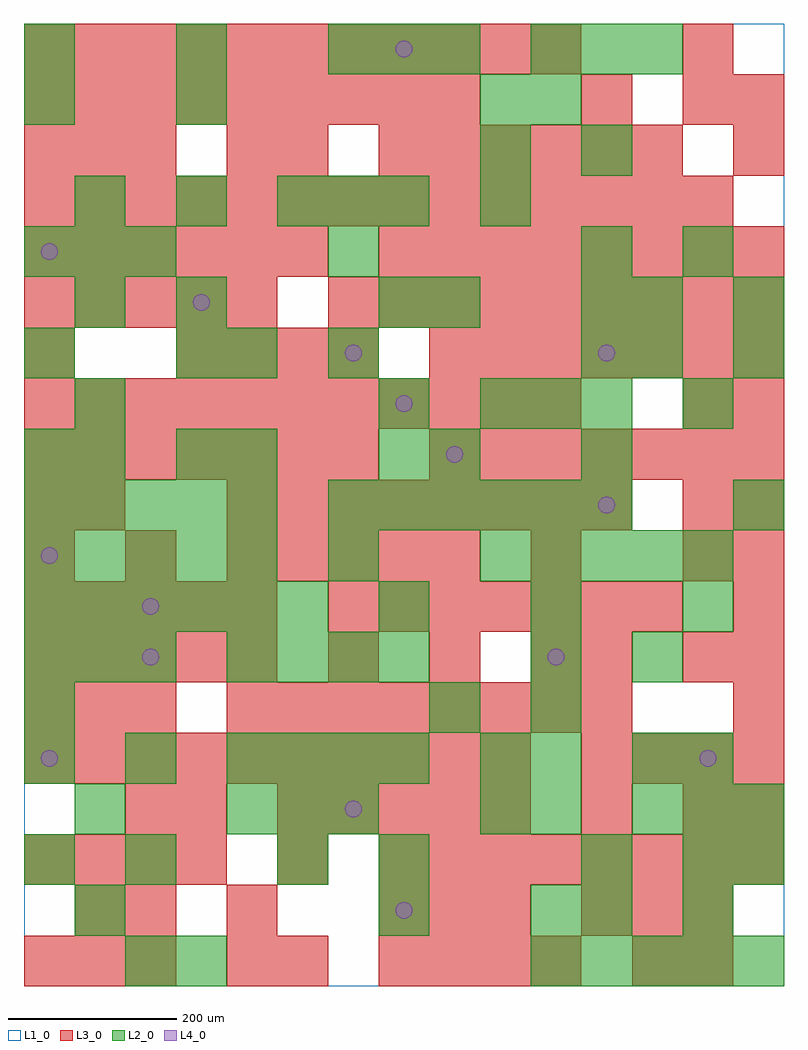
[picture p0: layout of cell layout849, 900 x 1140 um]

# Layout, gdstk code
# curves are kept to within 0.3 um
import gdstk
lib = gdstk.Library(unit=1e-6, precision=1e-09)
def R(c, l, rs):  # rectangles x0, y0, x1, y1
    for r in rs: c.add(gdstk.rectangle(r[:2], r[2:], *l))
def A(c, l, x, y, w, h, nx, ny, dx, dy):  # array of equal rectangles
    R(c, l, [(x+i*dx, y+j*dy, x+i*dx+w, y+j*dy+h) for i in range(nx) for j in range(ny)])
def P(c, l, *ps):  # polygons
    for p in ps: c.add(gdstk.Polygon(p, *l))
L1_0 = (1, 0)
L2_0 = (2, 0)
L3_0 = (3, 0)
L4_0 = (4, 0)

layout849 = lib.new_cell('layout849')
R(layout849, L1_0, [(0,0,900,1140)])
A(layout849, L2_0, 600, 0, 60, 60, 5, 1, 60, 0)
A(layout849, L2_0, 240, 180, 60, 60, 3, 1, 60, 0)
A(layout849, L2_0, 600, 180, 60, 60, 1, 4, 0, 60)
A(layout849, L2_0, 720, 180, 60, 60, 3, 1, 60, 0)
A(layout849, L2_0, 0, 240, 60, 60, 3, 1, 120, 0)
A(layout849, L2_0, 300, 240, 60, 60, 3, 1, 60, 0)
A(layout849, L2_0, 0, 360, 60, 60, 3, 2, 60, 480)
A(layout849, L2_0, 240, 360, 60, 60, 4, 1, 60, 0)
A(layout849, L2_0, 0, 420, 60, 60, 6, 1, 60, 0)
A(layout849, L2_0, 420, 420, 60, 60, 3, 1, 180, 0)
A(layout849, L2_0, 0, 480, 60, 60, 5, 2, 60, 60)
A(layout849, L2_0, 540, 480, 60, 60, 5, 1, 60, 0)
A(layout849, L2_0, 360, 540, 60, 60, 6, 1, 60, 0)
A(layout849, L2_0, 420, 660, 60, 60, 1, 3, 0, 120)
A(layout849, L2_0, 540, 660, 60, 60, 3, 1, 60, 0)
A(layout849, L2_0, 660, 720, 60, 60, 1, 3, 0, 60)
A(layout849, L2_0, 60, 900, 60, 60, 3, 1, 120, 0)
A(layout849, L2_0, 540, 900, 60, 60, 1, 3, 0, 60)
A(layout849, L2_0, 0, 1080, 60, 60, 3, 1, 180, 0)
A(layout849, L2_0, 600, 1080, 60, 60, 3, 1, 60, 0)
R(layout849, L2_0, [(120,0,180,60), (180,0,240,60), (60,60,120,120), (420,60,480,120), (600,60,660,120), (660,60,720,120), (780,60,840,120), (0,120,60,180), (120,120,180,180), (300,120,360,180), (420,120,480,180), (660,120,720,180), (780,120,840,180), (840,120,900,180), (60,180,120,240), (540,180,600,240), (540,240,600,300), (720,240,780,300), (780,240,840,300), (0,300,60,360), (480,300,540,360), (720,360,780,420), (360,480,420,540), (840,540,900,600), (0,600,60,660), (60,600,120,660), (180,600,240,660), (240,600,300,660), (420,600,480,660), (480,600,540,660), (660,600,720,660), (60,660,120,720), (780,660,840,720), (0,720,60,780), (180,720,240,780), (240,720,300,780), (360,720,420,780), (720,720,780,780), (840,720,900,780), (60,780,120,840), (180,780,240,840), (480,780,540,840), (720,780,780,840), (840,780,900,840), (360,840,420,900), (780,840,840,900), (360,900,420,960), (660,960,720,1020), (0,1020,60,1080), (180,1020,240,1080), (600,1020,660,1080), (420,1080,480,1140), (480,1080,540,1140)])
A(layout849, L3_0, 0, 0, 60, 60, 3, 2, 60, 300)
A(layout849, L3_0, 420, 0, 60, 60, 4, 1, 60, 0)
A(layout849, L3_0, 780, 0, 60, 60, 1, 3, 0, 180)
A(layout849, L3_0, 420, 60, 60, 60, 3, 1, 60, 0)
A(layout849, L3_0, 660, 60, 60, 60, 3, 1, 60, 0)
A(layout849, L3_0, 0, 120, 60, 60, 4, 1, 60, 0)
A(layout849, L3_0, 420, 120, 60, 60, 8, 2, 60, 720)
A(layout849, L3_0, 300, 180, 60, 60, 5, 1, 60, 0)
A(layout849, L3_0, 0, 240, 60, 60, 10, 1, 60, 0)
A(layout849, L3_0, 660, 240, 60, 60, 4, 1, 60, 0)
A(layout849, L3_0, 240, 300, 60, 60, 8, 2, 60, 240)
A(layout849, L3_0, 840, 300, 60, 60, 1, 5, 0, 60)
A(layout849, L3_0, 0, 360, 60, 60, 5, 2, 60, 60)
A(layout849, L3_0, 360, 360, 60, 60, 3, 1, 120, 0)
A(layout849, L3_0, 360, 420, 60, 60, 7, 1, 60, 0)
A(layout849, L3_0, 0, 480, 60, 60, 3, 1, 120, 0)
A(layout849, L3_0, 300, 480, 60, 60, 4, 1, 60, 0)
A(layout849, L3_0, 0, 600, 60, 60, 7, 1, 60, 0)
A(layout849, L3_0, 480, 600, 60, 60, 7, 2, 60, 120)
A(layout849, L3_0, 0, 660, 60, 60, 11, 2, 60, 420)
A(layout849, L3_0, 180, 720, 60, 60, 4, 1, 60, 0)
A(layout849, L3_0, 0, 780, 60, 60, 5, 1, 60, 0)
A(layout849, L3_0, 360, 780, 60, 60, 9, 1, 60, 0)
A(layout849, L3_0, 0, 840, 60, 60, 6, 1, 60, 0)
A(layout849, L3_0, 0, 900, 60, 60, 14, 1, 60, 0)
A(layout849, L3_0, 0, 960, 60, 60, 3, 1, 60, 0)
A(layout849, L3_0, 420, 960, 60, 60, 6, 1, 60, 0)
A(layout849, L3_0, 0, 1020, 60, 60, 9, 1, 60, 0)
R(layout849, L3_0, [(240,0,300,60), (300,0,360,60), (720,0,780,60), (60,60,120,120), (120,60,180,120), (240,60,300,120), (300,120,360,180), (120,180,180,240), (180,180,240,240), (660,180,720,240), (840,180,900,240), (660,360,720,420), (600,480,660,540), (780,480,840,540), (0,540,60,600), (60,540,120,600), (780,540,840,600), (780,660,840,720), (840,660,900,720), (0,720,60,780), (240,960,300,1020), (300,960,360,1020), (840,960,900,1020), (660,1020,720,1080), (780,1020,840,1080), (840,1020,900,1080), (780,1080,840,1140)])
P(layout849, L4_0, [(40,270),(39.239,273.827),(37.071,277.071),(33.827,279.239),(30,280),(26.173,279.239),(22.929,277.071),(20.761,273.827),(20,270),(20.761,266.173),(22.929,262.929),(26.173,260.761),(30,260),(33.827,260.761),(37.071,262.929),(39.239,266.173)],
  [(40,510),(39.239,513.827),(37.071,517.071),(33.827,519.239),(30,520),(26.173,519.239),(22.929,517.071),(20.761,513.827),(20,510),(20.761,506.173),(22.929,502.929),(26.173,500.761),(30,500),(33.827,500.761),(37.071,502.929),(39.239,506.173)],
  [(40,870),(39.239,873.827),(37.071,877.071),(33.827,879.239),(30,880),(26.173,879.239),(22.929,877.071),(20.761,873.827),(20,870),(20.761,866.173),(22.929,862.929),(26.173,860.761),(30,860),(33.827,860.761),(37.071,862.929),(39.239,866.173)],
  [(160,390),(159.239,393.827),(157.071,397.071),(153.827,399.239),(150,400),(146.173,399.239),(142.929,397.071),(140.761,393.827),(140,390),(140.761,386.173),(142.929,382.929),(146.173,380.761),(150,380),(153.827,380.761),(157.071,382.929),(159.239,386.173)],
  [(160,450),(159.239,453.827),(157.071,457.071),(153.827,459.239),(150,460),(146.173,459.239),(142.929,457.071),(140.761,453.827),(140,450),(140.761,446.173),(142.929,442.929),(146.173,440.761),(150,440),(153.827,440.761),(157.071,442.929),(159.239,446.173)],
  [(220,810),(219.239,813.827),(217.071,817.071),(213.827,819.239),(210,820),(206.173,819.239),(202.929,817.071),(200.761,813.827),(200,810),(200.761,806.173),(202.929,802.929),(206.173,800.761),(210,800),(213.827,800.761),(217.071,802.929),(219.239,806.173)],
  [(400,210),(399.239,213.827),(397.071,217.071),(393.827,219.239),(390,220),(386.173,219.239),(382.929,217.071),(380.761,213.827),(380,210),(380.761,206.173),(382.929,202.929),(386.173,200.761),(390,200),(393.827,200.761),(397.071,202.929),(399.239,206.173)],
  [(400,750),(399.239,753.827),(397.071,757.071),(393.827,759.239),(390,760),(386.173,759.239),(382.929,757.071),(380.761,753.827),(380,750),(380.761,746.173),(382.929,742.929),(386.173,740.761),(390,740),(393.827,740.761),(397.071,742.929),(399.239,746.173)],
  [(460,90),(459.239,93.827),(457.071,97.071),(453.827,99.239),(450,100),(446.173,99.239),(442.929,97.071),(440.761,93.827),(440,90),(440.761,86.173),(442.929,82.929),(446.173,80.761),(450,80),(453.827,80.761),(457.071,82.929),(459.239,86.173)],
  [(460,690),(459.239,693.827),(457.071,697.071),(453.827,699.239),(450,700),(446.173,699.239),(442.929,697.071),(440.761,693.827),(440,690),(440.761,686.173),(442.929,682.929),(446.173,680.761),(450,680),(453.827,680.761),(457.071,682.929),(459.239,686.173)],
  [(460,1110),(459.239,1113.827),(457.071,1117.071),(453.827,1119.239),(450,1120),(446.173,1119.239),(442.929,1117.071),(440.761,1113.827),(440,1110),(440.761,1106.173),(442.929,1102.929),(446.173,1100.761),(450,1100),(453.827,1100.761),(457.071,1102.929),(459.239,1106.173)],
  [(520,630),(519.239,633.827),(517.071,637.071),(513.827,639.239),(510,640),(506.173,639.239),(502.929,637.071),(500.761,633.827),(500,630),(500.761,626.173),(502.929,622.929),(506.173,620.761),(510,620),(513.827,620.761),(517.071,622.929),(519.239,626.173)],
  [(640,390),(639.239,393.827),(637.071,397.071),(633.827,399.239),(630,400),(626.173,399.239),(622.929,397.071),(620.761,393.827),(620,390),(620.761,386.173),(622.929,382.929),(626.173,380.761),(630,380),(633.827,380.761),(637.071,382.929),(639.239,386.173)],
  [(700,570),(699.239,573.827),(697.071,577.071),(693.827,579.239),(690,580),(686.173,579.239),(682.929,577.071),(680.761,573.827),(680,570),(680.761,566.173),(682.929,562.929),(686.173,560.761),(690,560),(693.827,560.761),(697.071,562.929),(699.239,566.173)],
  [(700,750),(699.239,753.827),(697.071,757.071),(693.827,759.239),(690,760),(686.173,759.239),(682.929,757.071),(680.761,753.827),(680,750),(680.761,746.173),(682.929,742.929),(686.173,740.761),(690,740),(693.827,740.761),(697.071,742.929),(699.239,746.173)],
  [(820,270),(819.239,273.827),(817.071,277.071),(813.827,279.239),(810,280),(806.173,279.239),(802.929,277.071),(800.761,273.827),(800,270),(800.761,266.173),(802.929,262.929),(806.173,260.761),(810,260),(813.827,260.761),(817.071,262.929),(819.239,266.173)])

lib.write_gds('layout849.gds')
